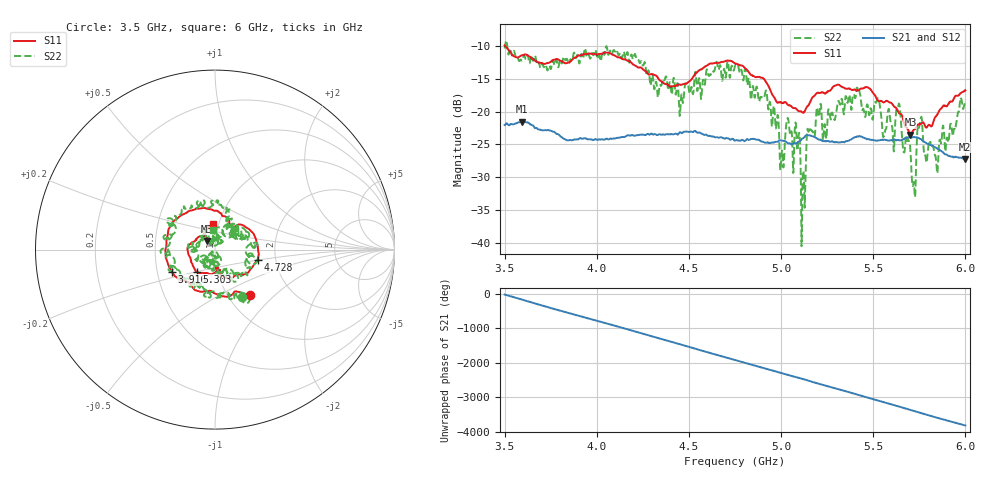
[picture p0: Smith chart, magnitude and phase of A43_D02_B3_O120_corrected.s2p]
! Created with skrf 1.9.0 (http://scikit-rf.org).
# Hz S RI R 50.0
!freq ReS11 ImS11 ReS21 ImS21 ReS12 ImS12 ReS22 ImS22
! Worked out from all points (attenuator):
!   1601 points, 3.5 GHz to 6 GHz, reference 50 ohm
!   highest |S21| = -21.53 dB at 3.592 GHz (marker M1); lowest = -27.2 dB at 5.998 GHz (marker M2)
!   lowest |S11| = -23.5 dB at 5.702 GHz (marker M3), VSWR 1.14, Z = 45.4 + j4.45 ohm
!   |S11| at or under -10 dB: 3.504 GHz to end of sweep
!   |S22| runs from -40.5 to -9.1 dB; largest |S21 - S12| = 0.00089
!   S11 on the Smith chart (normalised r, x): 3.5 GHz: 1.27, -0.71; 3.916 GHz: 0.60, -0.16; 4.728 GHz: 1.61, -0.19; 5.303 GHz: 0.80, -0.20; 6 GHz: 0.94, +0.28
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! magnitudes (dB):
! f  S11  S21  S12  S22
! 3.5 GHz  -9.9  -22.0  -22.0  -10.4
! 3.592 GHz  -11.4  -21.5  -21.5  -12.2
! 3.916 GHz  -11.4  -24.1  -24.1  -11.2
! 3.917 GHz  -11.4  -24.1  -24.1  -11.2
! 4.334 GHz  -15.0  -23.5  -23.4  -17.6
! 4.728 GHz  -12.3  -24.3  -24.1  -13.4
! 4.75 GHz  -12.6  -24.4  -24.3  -13.0
! 4.927 GHz  -15.9  -24.7  -24.7  -18.6
! 5.005 GHz  -18.6  -24.4  -24.4  -26.0
! 5.034 GHz  -18.9  -24.8  -24.7  -21.1
! 5.088 GHz  -19.7  -24.8  -24.8  -25.8
! 5.12 GHz  -20.2  -24.0  -24.0  -29.0
! 5.167 GHz  -18.0  -23.7  -23.7  -23.0
! 5.303 GHz  -15.9  -24.7  -24.6  -19.5
! 5.584 GHz  -18.6  -24.4  -24.4  -19.6
! 5.638 GHz  -20.1  -24.3  -24.3  -18.9
! 5.702 GHz  -23.5  -23.9  -23.9  -25.9
! 5.72 GHz  -22.7  -23.9  -23.9  -30.7
! 5.753 GHz  -21.9  -24.1  -24.1  -21.9
! 5.842 GHz  -20.6  -25.5  -25.5  -27.9
! 5.998 GHz  -16.8  -27.2  -27.1  -19.0
! 6 GHz  -16.7  -27.2  -27.2  -19.3
